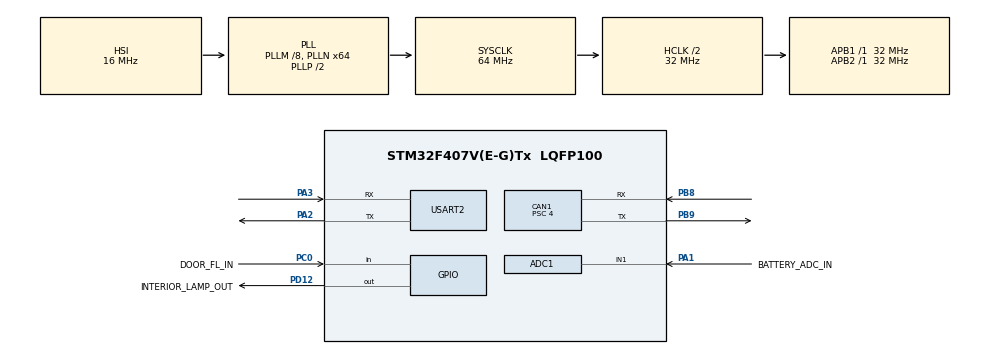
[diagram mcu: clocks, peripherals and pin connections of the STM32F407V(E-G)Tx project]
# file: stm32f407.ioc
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ADC1.Channel-0\#ChannelRegularConversion=ADC_CHANNEL_1
ADC1.NbrOfConversionFlag=1
ADC1.Rank-0\#ChannelRegularConversion=1
ADC1.SamplingTime-0\#ChannelRegularConversion=ADC_SAMPLETIME_3CYCLES
ADC1.master=1
CAN1.BS1=CAN_BS1_13TQ
CAN1.BS2=CAN_BS2_2TQ
CAN1.CalculateBaudRate=500000
CAN1.CalculateTimeBit=2000
CAN1.CalculateTimeQuantum=125.0
CAN1.Prescaler=4
FREERTOS.Queues01=canRxQueue,16,uint16_t,0,Dynamic,NULL,NULL
FREERTOS.Tasks01=defaultTask,24,128,StartDefaultTask,Default,NULL,Dynamic,NULL,NULL;VehicleTask,24,128,StartVehicleTask,Default,NULL,Dynamic,NULL,NULL;LightingTask,24,128,StartLightingTask,Default,NULL,Dynamic,NULL,NULL;BatteryTask,8,128,StartBatteryTask,Default,NULL,Dynamic,NULL,NULL;FaultTask,8,128,StartFaultTask,Default,NULL,Dynamic,NULL,NULL;DiagnosticTask,8,128,StartDiagnosticTask,Default,NULL,Dynamic,NULL,NULL;CANTask,32,128,StartCANTask,Default,NULL,Dynamic,NULL,NULL
Mcu.Family=STM32F4
Mcu.Name=STM32F407V(E-G)Tx
Mcu.Package=LQFP100
NVIC.CAN1_RX0_IRQn=true\:5\:0\:false\:false\:true\:true\:true\:true\:true
NVIC.PriorityGroup=NVIC_PRIORITYGROUP_4
NVIC.USART2_IRQn=true\:5\:0\:false\:false\:true\:true\:true\:true\:true
PA1.GPIO_Label=BATTERY_ADC_IN
PA1.Signal=ADCx_IN1
PA2.Mode=Asynchronous
PA2.Signal=USART2_TX
PA3.Mode=Asynchronous
PA3.Signal=USART2_RX
PB8.Mode=CAN_Activate
PB8.Signal=CAN1_RX
PB9.Mode=CAN_Activate
PB9.Signal=CAN1_TX
PC0.GPIO_Label=DOOR_FL_IN
PC0.GPIO_PuPd=GPIO_PULLUP
PC0.Signal=GPIO_Input
PD12.GPIO_Label=INTERIOR_LAMP_OUT
PD12.GPIO_PuPd=GPIO_NOPULL
PD12.Signal=GPIO_Output
ProjectManager.HeapSize=0x200
ProjectManager.StackSize=0x400
ProjectManager.TargetToolchain=STM32CubeIDE
RCC.48MHZClocksFreq_Value=32000000
RCC.AHBCLKDivider=RCC_SYSCLK_DIV2
RCC.AHBFreq_Value=32000000
RCC.APB1Freq_Value=32000000
RCC.APB1TimFreq_Value=32000000
RCC.APB2Freq_Value=32000000
RCC.APB2TimFreq_Value=32000000
RCC.CortexFreq_Value=32000000
RCC.HCLKFreq_Value=32000000
RCC.HSE_VALUE=25000000
RCC.HSI_VALUE=16000000
RCC.LSE_VALUE=32768
RCC.PLLM=8
RCC.PLLN=64
RCC.SYSCLKFreq_VALUE=64000000
RCC.SYSCLKSource=RCC_SYSCLKSOURCE_PLLCLK
RCC.VCOOutputFreq_Value=128000000
SH.ADCx_IN1.0=ADC1_IN1,IN1
USART2.VirtualMode=VM_ASYNC
VP_FREERTOS_VS_CMSIS_V2.Mode=CMSIS_V2
board=custom

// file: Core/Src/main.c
/* USER CODE BEGIN Header */
/**
  ******************************************************************************
  * @file           : main.c
  * @brief          : Main program body
  ******************************************************************************
  * @attention
  *
  * Copyright (c) 2026 STMicroelectronics.
  * All rights reserved.
  *
  * This software is licensed under terms that can be found in the LICENSE file
  * in the root directory of this software component.
  * If no LICENSE file comes with this software, it is provided AS-IS.
  *
  ******************************************************************************
  */
/* USER CODE END Header */
#include "main.h"
#include "cmsis_os.h"

/* USER CODE BEGIN Includes */
#include "Drivers/GPIO/gpio_driver.h"
#include "App/DoorManager/door_manager.h"
#include "App/LightingManager/lighting_manager.h"
#include "App/VehicleStateManager/vehicle_state_manager.h"
#include "App/BatteryMonitor/battery_monitor.h"
#include "Services/FaultManager/fault_manager.h"
#include "Drivers/ADC/adc_driver.h"
#include "Drivers/CAN/can_driver.h"
#include "Simulation/sim_interface.h"
#include "Simulation/sim_transport_uart.h"

#include "Services/CANService/can_service.h"
#include "Services/DiagnosticManager/diagnostic_manager.h"
#include "Services/EventLogger/event_logger.h"

#include "RTOS/rtos_tasks.h"
#include "RTOS/rtos_queues.h"
#include <string.h>
#include "FreeRTOS.h"
#include "task.h"
/* USER CODE END Includes */

ADC_HandleTypeDef hadc1;

CAN_HandleTypeDef hcan1;

UART_HandleTypeDef huart2;

/* Definitions for defaultTask */
osThreadId_t defaultTaskHandle;
const osThreadAttr_t defaultTask_attributes = {
  .name = "defaultTask",
  .stack_size = 128 * 4,
  .priority = (osPriority_t) osPriorityNormal,
};
/* Definitions for VehicleTask */
osThreadId_t VehicleTaskHandle;
const osThreadAttr_t VehicleTask_attributes = {
  .name = "VehicleTask",
  .stack_size = 512 * 4,
  .priority = (osPriority_t) osPriorityNormal,
};
/* Definitions for LightingTask */
osThreadId_t LightingTaskHandle;
const osThreadAttr_t LightingTask_attributes = {
  .name = "LightingTask",
  .stack_size = 128 * 4,
  .priority = (osPriority_t) osPriorityNormal,
};
/* Definitions for BatteryTask */
osThreadId_t BatteryTaskHandle;
const osThreadAttr_t BatteryTask_attributes = {
  .name = "BatteryTask",
  .stack_size = 128 * 4,
  .priority = (osPriority_t) osPriorityLow,
};
/* Definitions for FaultTask */
osThreadId_t FaultTaskHandle;
const osThreadAttr_t FaultTask_attributes = {
  .name = "FaultTask",
  .stack_size = 128 * 4,
  .priority = (osPriority_t) osPriorityLow,
};
/* Definitions for DiagnosticTask */
osThreadId_t DiagnosticTaskHandle;
const osThreadAttr_t DiagnosticTask_attributes = {
  .name = "DiagnosticTask",
  .stack_size = 128 * 4,
  .priority = (osPriority_t) osPriorityLow,
};
/* Definitions for CANTask */
osThreadId_t CANTaskHandle;
const osThreadAttr_t CANTask_attributes = {
  .name = "CANTask",
  .stack_size = 128 * 4,
  .priority = (osPriority_t) osPriorityAboveNormal,
};
/* Definitions for canRxQueue */
osMessageQueueId_t canRxQueueHandle;
const osMessageQueueAttr_t canRxQueue_attributes = {
  .name = "canRxQueue"
};

void SystemClock_Config(void);
static void MX_GPIO_Init(void);
static void MX_CAN1_Init(void);
static void MX_ADC1_Init(void);
static void MX_USART2_UART_Init(void);
void StartDefaultTask(void *argument);
void StartVehicleTask(void *argument);
void StartLightingTask(void *argument);
void StartBatteryTask(void *argument);
void StartFaultTask(void *argument);
void StartDiagnosticTask(void *argument);
void StartCANTask(void *argument);

/* USER CODE BEGIN 0 */
void vApplicationStackOverflowHook(
    TaskHandle_t task_handle,
    char *task_name
)
{
    (void)task_handle;

    const char prefix[] = "STACK OVERFLOW: ";
    const char newline[] = "\r\n";

    HAL_UART_Transmit(
        &huart2,
        (uint8_t *)prefix,
        sizeof(prefix) - 1U,
        1000U
    );

    if (task_name != NULL)
    {
        HAL_UART_Transmit(
            &huart2,
            (uint8_t *)task_name,
            (uint16_t)strlen(task_name),
            1000U
        );
    }

    HAL_UART_Transmit(
        &huart2,
        (uint8_t *)newline,
        sizeof(newline) - 1U,
        1000U
    );

    taskDISABLE_INTERRUPTS();

    while (1)
    {
    }
}
void HAL_UART_RxCpltCallback(UART_HandleTypeDef *huart)
{
    if (huart->Instance == USART2)
    {
#ifdef RENODE_SIMULATION
        uint8_t received_byte =
            SimTransportUart_GetReceivedByte();

        SimInterface_ProcessByte(received_byte);

        if (SimTransportUart_ReceiveNextByte() != HAL_OK)
        {
            /*
             * Recover the receive path if HAL reports BUSY or ERROR.
             */
            (void)HAL_UART_AbortReceive(&huart2);
            (void)SimTransportUart_ReceiveNextByte();
        }
#endif
    }
}
/* USER CODE END 0 */

int main(void)
{

  /* MCU Configuration--------------------------------------------------------*/

  /* Reset of all peripherals, Initializes the Flash interface and the Systick. */
  HAL_Init();

  /* Configure the system clock */
    SystemClock_Config();

  /* Initialize all configured peripherals */
  MX_USART2_UART_Init();
  MX_GPIO_Init();
  MX_CAN1_Init();
  MX_ADC1_Init();

  /* USER CODE BEGIN 2 */

  GPIO_Driver_Init();

  ADC_Driver_Init();

  DoorManager_Init();
  VehicleStateManager_Init();
  BatteryMonitor_Init();
  LightingManager_Init();

  FaultManager_Init();
  EventLogger_Init();
  DiagnosticManager_Init();

	#ifdef RENODE_SIMULATION
  	  SimInterface_Init();

  	#endif
  /* USER CODE END 2 */

  /* Init scheduler */
  osKernelInitialize();

  /* Create the queue(s) */
  /* creation of canRxQueue */
  canRxQueueHandle = osMessageQueueNew (16, sizeof(can_message_t), &canRxQueue_attributes);

  /* Create the thread(s) */
  /* creation of defaultTask */
  defaultTaskHandle = osThreadNew(StartDefaultTask, NULL, &defaultTask_attributes);

  /* creation of VehicleTask */
  VehicleTaskHandle = osThreadNew(StartVehicleTask, NULL, &VehicleTask_attributes);

  /* creation of LightingTask */
  LightingTaskHandle = osThreadNew(StartLightingTask, NULL, &LightingTask_attributes);

  /* creation of BatteryTask */
  BatteryTaskHandle = osThreadNew(StartBatteryTask, NULL, &BatteryTask_attributes);

  /* creation of FaultTask */
  FaultTaskHandle = osThreadNew(StartFaultTask, NULL, &FaultTask_attributes);

  /* creation of DiagnosticTask */
  DiagnosticTaskHandle = osThreadNew(StartDiagnosticTask, NULL, &DiagnosticTask_attributes);

  /* creation of CANTask */
  CANTaskHandle = osThreadNew(StartCANTask, NULL, &CANTask_attributes);

  /* Start scheduler */
  osKernelStart();

  /* We should never get here as control is now taken by the scheduler */

  /* Infinite loop */
  while (1)
  {

  }
}

void SystemClock_Config(void)
{
  RCC_OscInitTypeDef RCC_OscInitStruct = {0};
  RCC_ClkInitTypeDef RCC_ClkInitStruct = {0};

  /** Configure the main internal regulator output voltage
  */
  __HAL_RCC_PWR_CLK_ENABLE();
  __HAL_PWR_VOLTAGESCALING_CONFIG(PWR_REGULATOR_VOLTAGE_SCALE1);

  /** Initializes the RCC Oscillators according to the specified parameters
  * in the RCC_OscInitTypeDef structure.
  */
  RCC_OscInitStruct.OscillatorType = RCC_OSCILLATORTYPE_HSI;
  RCC_OscInitStruct.HSIState = RCC_HSI_ON;
  RCC_OscInitStruct.HSICalibrationValue = RCC_HSICALIBRATION_DEFAULT;
  RCC_OscInitStruct.PLL.PLLState = RCC_PLL_ON;
  RCC_OscInitStruct.PLL.PLLSource = RCC_PLLSOURCE_HSI;
  RCC_OscInitStruct.PLL.PLLM = 8;
  RCC_OscInitStruct.PLL.PLLN = 64;
  RCC_OscInitStruct.PLL.PLLP = RCC_PLLP_DIV2;
  RCC_OscInitStruct.PLL.PLLQ = 4;
  if (HAL_RCC_OscConfig(&RCC_OscInitStruct) != HAL_OK)
  {
    Error_Handler();
  }

  /** Initializes the CPU, AHB and APB buses clocks
  */
  RCC_ClkInitStruct.ClockType = RCC_CLOCKTYPE_HCLK|RCC_CLOCKTYPE_SYSCLK
                              |RCC_CLOCKTYPE_PCLK1|RCC_CLOCKTYPE_PCLK2;
  RCC_ClkInitStruct.SYSCLKSource = RCC_SYSCLKSOURCE_PLLCLK;
  RCC_ClkInitStruct.AHBCLKDivider = RCC_SYSCLK_DIV2;
  RCC_ClkInitStruct.APB1CLKDivider = RCC_HCLK_DIV1;
  RCC_ClkInitStruct.APB2CLKDivider = RCC_HCLK_DIV1;

  if (HAL_RCC_ClockConfig(&RCC_ClkInitStruct, FLASH_LATENCY_1) != HAL_OK)
  {
    Error_Handler();
  }
}

static void MX_ADC1_Init(void)
{

  ADC_ChannelConfTypeDef sConfig = {0};

  /** Configure the global features of the ADC (Clock, Resolution, Data Alignment and number of conversion)
  */
  hadc1.Instance = ADC1;
  hadc1.Init.ClockPrescaler = ADC_CLOCK_SYNC_PCLK_DIV2;
  hadc1.Init.Resolution = ADC_RESOLUTION_12B;
  hadc1.Init.ScanConvMode = DISABLE;
  hadc1.Init.ContinuousConvMode = DISABLE;
  hadc1.Init.DiscontinuousConvMode = DISABLE;
  hadc1.Init.ExternalTrigConvEdge = ADC_EXTERNALTRIGCONVEDGE_NONE;
  hadc1.Init.ExternalTrigConv = ADC_SOFTWARE_START;
  hadc1.Init.DataAlign = ADC_DATAALIGN_RIGHT;
  hadc1.Init.NbrOfConversion = 1;
  hadc1.Init.DMAContinuousRequests = DISABLE;
  hadc1.Init.EOCSelection = ADC_EOC_SINGLE_CONV;
  if (HAL_ADC_Init(&hadc1) != HAL_OK)
  {
    Error_Handler();
  }

  /** Configure for the selected ADC regular channel its corresponding rank in the sequencer and its sample time.
  */
  sConfig.Channel = ADC_CHANNEL_1;
  sConfig.Rank = 1;
  sConfig.SamplingTime = ADC_SAMPLETIME_3CYCLES;
  if (HAL_ADC_ConfigChannel(&hadc1, &sConfig) != HAL_OK)
  {
    Error_Handler();
  }

}

static void MX_CAN1_Init(void)
{

  hcan1.Instance = CAN1;
  hcan1.Init.Prescaler = 4;
  hcan1.Init.Mode = CAN_MODE_NORMAL;
  hcan1.Init.SyncJumpWidth = CAN_SJW_1TQ;
  hcan1.Init.TimeSeg1 = CAN_BS1_13TQ;
  hcan1.Init.TimeSeg2 = CAN_BS2_2TQ;
  hcan1.Init.TimeTriggeredMode = DISABLE;
  hcan1.Init.AutoBusOff = DISABLE;
  hcan1.Init.AutoWakeUp = DISABLE;
  hcan1.Init.AutoRetransmission = DISABLE;
  hcan1.Init.ReceiveFifoLocked = DISABLE;
  hcan1.Init.TransmitFifoPriority = DISABLE;

  if (HAL_CAN_Init(&hcan1) != HAL_OK)
  {
	  Error_Handler();
  }

}

static void MX_USART2_UART_Init(void)
{

  huart2.Instance = USART2;
  huart2.Init.BaudRate = 115200;
  huart2.Init.WordLength = UART_WORDLENGTH_8B;
  huart2.Init.StopBits = UART_STOPBITS_1;
  huart2.Init.Parity = UART_PARITY_NONE;
  huart2.Init.Mode = UART_MODE_TX_RX;
  huart2.Init.HwFlowCtl = UART_HWCONTROL_NONE;
  huart2.Init.OverSampling = UART_OVERSAMPLING_16;
  if (HAL_UART_Init(&huart2) != HAL_OK)
  {
    Error_Handler();
  }

}

static void MX_GPIO_Init(void)
{
  GPIO_InitTypeDef GPIO_InitStruct = {0};

  /* GPIO Ports Clock Enable */
  __HAL_RCC_GPIOC_CLK_ENABLE();
  __HAL_RCC_GPIOA_CLK_ENABLE();
  __HAL_RCC_GPIOD_CLK_ENABLE();
  __HAL_RCC_GPIOB_CLK_ENABLE();

  /*Configure GPIO pin Output Level */
  HAL_GPIO_WritePin(INTERIOR_LAMP_OUT_GPIO_Port, INTERIOR_LAMP_OUT_Pin, GPIO_PIN_RESET);

  /*Configure GPIO pin : DOOR_FL_IN_Pin */
  GPIO_InitStruct.Pin = DOOR_FL_IN_Pin;
  GPIO_InitStruct.Mode = GPIO_MODE_INPUT;
  GPIO_InitStruct.Pull = GPIO_PULLUP;
  HAL_GPIO_Init(DOOR_FL_IN_GPIO_Port, &GPIO_InitStruct);

  /*Configure GPIO pin : INTERIOR_LAMP_OUT_Pin */
  GPIO_InitStruct.Pin = INTERIOR_LAMP_OUT_Pin;
  GPIO_InitStruct.Mode = GPIO_MODE_OUTPUT_PP;
  GPIO_InitStruct.Pull = GPIO_NOPULL;
  GPIO_InitStruct.Speed = GPIO_SPEED_FREQ_LOW;
  HAL_GPIO_Init(INTERIOR_LAMP_OUT_GPIO_Port, &GPIO_InitStruct);

}

/* USER CODE BEGIN 4 */

void HAL_CAN_RxFifo0MsgPendingCallback(CAN_HandleTypeDef *hcan)
{

    if (hcan->Instance == CAN1)
    {
        CAN_Driver_RxInterruptHandler();
    }

}

/* USER CODE END 4 */

void StartDefaultTask(void *argument)
{
  for(;;)
  {
    osDelay(1);
  }
}

void StartVehicleTask(void *argument)
{
  /* USER CODE BEGIN StartVehicleTask */
	RTOS_VehicleTask(argument);
  /* USER CODE END StartVehicleTask */
}

void StartLightingTask(void *argument)
{
  /* USER CODE BEGIN StartLightingTask */
	RTOS_LightingTask(argument);
  /* USER CODE END StartLightingTask */
}

void StartBatteryTask(void *argument)
{
  /* USER CODE BEGIN StartBatteryTask */
	RTOS_BatteryTask(argument);
  /* USER CODE END StartBatteryTask */
}

void StartFaultTask(void *argument)
{
  /* USER CODE BEGIN StartFaultTask */
	RTOS_FaultTask(argument);
  /* USER CODE END StartFaultTask */
}

void StartDiagnosticTask(void *argument)
{
  /* USER CODE BEGIN StartDiagnosticTask */
	RTOS_DiagnosticTask(argument);
  /* USER CODE END StartDiagnosticTask */
}

void StartCANTask(void *argument)
{
  /* USER CODE BEGIN StartCANTask */
	RTOS_CANTask(argument);
  /* USER CODE END StartCANTask */
}

void Error_Handler(void)
{
  __disable_irq();
  while (1)
  {
  }
}
